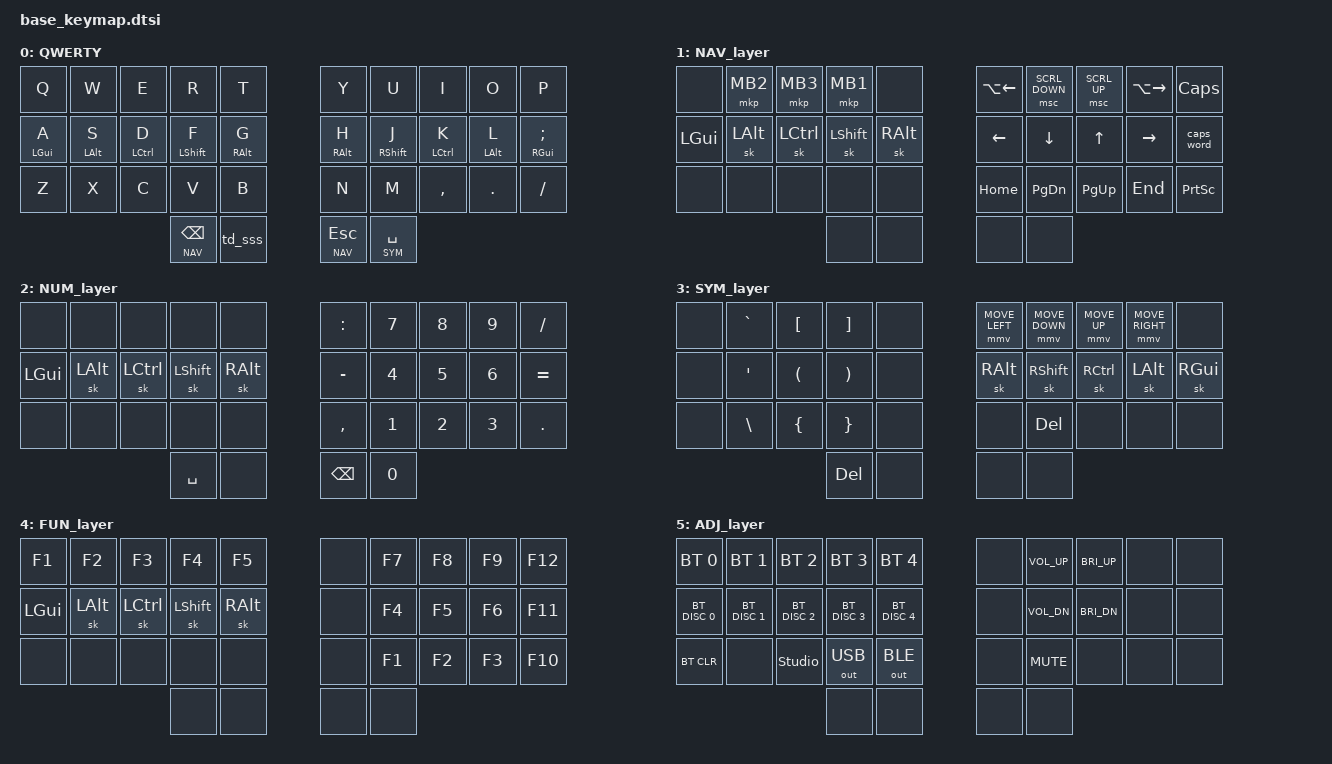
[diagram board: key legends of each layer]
#include <behaviors.dtsi>
#include <dt-bindings/zmk/bt.h>
#include <dt-bindings/zmk/keys.h>
#include <dt-bindings/zmk/mouse.h>
#include <dt-bindings/zmk/outputs.h>
#include <dt-bindings/zmk/pointing.h>

#define QWE 0
#define NAV 1
#define NUM 2
#define SYM 3
#define FUN 4
#define ADJ 5

#define COMBO(NAME, BINDINGS, KEYPOS, LAYERS, TERM, QUICKTAP, ...) \
  combo_##NAME { \
      bindings = <BINDINGS>; \
      key-positions = <KEYPOS>; \
      layers = <LAYERS>; \
      timeout-ms = <TERM>; \
      require-prior-idle-ms = <QUICKTAP>; \
      __VA_ARGS__ \
  };

#define KEYS_L \
          0  1  2  3  4 \
         10 11 12 13 14 \
         20 21 22 23 24 
#define KEYS_R \
                               5  6  7  8  9 \
                              15 16 17 18 19 \
                              25 26 27 28 29
#define THUMBS    30 31       32 33

&lt {
    tapping-term-ms = <300>;
    flavor = "balanced";
    quick-tap-ms = <150>;
    require-prior-idle-ms = <100>;
};
&sk {
    release-after-ms = <2000>;
    quick-release;
};

/ {
    combos {
        compatible = "zmk,combos";
        /*    name            binding      keypos    layers   trm  qtp */
        COMBO(we_esc,         &kp ESC,      1  2,    QWE,     20,  100)
        COMBO(er_tab,         &kp TAB,      2  3,    QWE,     15,  100)
        COMBO(sd_grave,       &kp GRAVE,   11 12,    QWE,     30,  200)

        COMBO(uo_bslh,        &kp BSLH,     6  7,    QWE NUM, 30,  200)
        COMBO(io_pipe,        &kp PIPE,     7  8,    QWE NUM, 30,  200)
        COMBO(jk_apos,        &kp APOS,    16 17,    QWE,     50,  200)
        COMBO(kl_quot,        &kp DQT,     17 18,    QWE,     50,  200)
        COMBO(comdot_enter,   &kp RET,     27 28,    QWE NUM, 40,  25)
        COMBO(mcom_dash,      &kp MINUS,   26 27,    QWE NUM, 50,  50)

        /* Thumb bits */
        COMBO(rthum_adjust,   &mo ADJ,     32 33,    QWE,     50,  200)
        COMBO(lthumb_ltfun,   &mo FUN,     30 31,    QWE,     50,  200)

        /* Numbers only */
        COMBO(kl_lpar,        &kp LPAR,    16 17,        NUM, 30,  50)
        COMBO(kl_rpar,        &kp RPAR,    17 18,        NUM, 30,  50)
        COMBO(hj_lkbt,        &kp LBKT,    15 16,        NUM, 30,  50)
        COMBO(lcol_rkbt,      &kp RBKT,    18 19,        NUM, 30,  50)
    };

    behaviors {
        lth: layer_tap_hold_preferred {
            compatible = "zmk,behavior-hold-tap";
            tapping-term-ms = <300>;
            flavor = "hold-preferred";
            quick-tap-ms = <150>;
            require-prior-idle-ms = <100>;
            #binding-cells = <2>;
            bindings = <&mo>, <&kp>;
        };
        lths: layer_tap_hold_sticky {
            compatible = "zmk,behavior-hold-tap";
            flavor = "hold-preferred";
            hold-while-undecided;
            tapping-term-ms = <50>;
            #binding-cells = <2>;
            bindings = <&mo>, <&sk>;
        };
        td_sss: tap_dance_super_shift {
            compatible = "zmk,behavior-tap-dance";
            tapping-term-ms = <300>;
            #binding-cells = <0>;
            bindings = <&lths NUM LSHFT>, <&caps_word>, <&kp CAPS>;
        };
        hml: home_row_mods_left {
            compatible = "zmk,behavior-hold-tap";
            tapping-term-ms = <400>;
            quick-tap-ms = <150>;
            flavor = "balanced";
            #binding-cells = <2>;
            bindings = <&kp>, <&kp>;
            hold-trigger-key-positions = <KEYS_R THUMBS>;
            hold-trigger-on-release;
            require-prior-idle-ms = <120>;
        };
        hmr: home_row_mods_right {
            compatible = "zmk,behavior-hold-tap";
            tapping-term-ms = <400>;
            quick-tap-ms = <150>;
            flavor = "balanced";
            #binding-cells = <2>;
            bindings = <&kp>, <&kp>;
            hold-trigger-key-positions = <KEYS_L THUMBS>;
            hold-trigger-on-release;
            require-prior-idle-ms = <120>;
        };
    };

    keymap {
        compatible = "zmk,keymap";

        QWE_layer {
            display-name = "QWERTY";
            bindings = <
//            |             |             |             |             |                     |             |             |             |             |             |             
&kp Q         &kp W         &kp E         &kp R         &kp T                                             &kp Y         &kp U         &kp I         &kp O         &kp P         
&hml LGUI A   &hml LALT S   &hml LCTRL D  &hml LSHFT F  &hml RALT G                                       &hmr RALT H   &hmr RSHFT J  &hmr LCTRL K  &hmr LALT L   &hmr RGUI SEMI
&kp Z         &kp X         &kp C         &kp V         &kp B                                             &kp N         &kp M         &kp COMMA     &kp DOT       &kp FSLH      
                                                        &lth NAV BSPC &td_sss               &lt NAV ESC   &lt SYM SPACE
            >;
        };

        NAV_layer {
            bindings = <
//            |             |             |             |             |                    |              |             |             |             |             |             
&none         &mkp MB2      &mkp MB3      &mkp MB1      &none                                             &kp LA(LEFT)  &msc SCRL_DOWN &msc SCRL_UP &kp LA(RIGHT) &kp CAPS      
&kp LGUI      &sk LALT      &sk LCTRL     &sk LSHFT     &sk RALT                                          &kp LEFT      &kp DOWN      &kp UP        &kp RIGHT     &caps_word    
&none         &none         &none         &none         &none                                             &kp HOME      &kp PG_DN     &kp PG_UP     &kp END       &kp PSCRN     
                                                        &none         &none                 &none         &none
            >;
        };

        NUM_layer {
            bindings = <
//            |             |             |             |             |                    |              |             |             |             |             |             
&none         &none         &none         &none         &none                                             &kp COLON     &kp N7        &kp N8        &kp N9        &kp FSLH
&kp LGUI      &sk LALT      &sk LCTRL     &sk LSHFT     &sk RALT                                          &kp MINUS     &kp N4        &kp N5        &kp N6        &kp EQUAL     
&none         &none         &none         &none         &none                                             &kp COMMA     &kp N1        &kp N2        &kp N3        &kp DOT       
                                                        &kp SPACE     &none                 &kp BSPC      &kp N0
            >;
        };

        SYM_layer {
            bindings = <
//            |             |             |             |             |                    |              |             |             |             |             |             
&none         &kp GRAVE     &kp LBKT      &kp RBKT      &none                                            &mmv MOVE_LEFT &mmv MOVE_DOWN &mmv MOVE_UP &mmv MOVE_RIGHT &none
&none         &kp APOS      &kp LPAR      &kp RPAR      &none                                             &sk RALT      &sk RSHFT     &sk RCTRL     &sk LALT      &sk RGUI      
&none         &kp BSLH      &kp LBRC      &kp RBRC      &none                                             &none         &kp DEL       &none         &none         &none         
                                                        &kp DEL       &none                 &none         &none
            >;
        };

        FUN_layer {
            bindings = <
//            |             |             |             |             |                    |              |             |             |             |             |             
&kp F1        &kp F2        &kp F3        &kp F4        &kp F5                                            &none         &kp F7        &kp F8        &kp F9        &kp F12       
&kp LGUI      &sk LALT      &sk LCTRL     &sk LSHFT     &sk RALT                                          &none         &kp F4        &kp F5        &kp F6        &kp F11       
&none         &none         &none         &none         &none                                             &none         &kp F1        &kp F2        &kp F3        &kp F10       
                                                        &none         &none                 &none         &none
            >;
        };

        ADJ_layer {
            bindings = <
//            |             |             |             |             |                    |              |             |             |             |             |             
&bt BT_SEL 0  &bt BT_SEL 1  &bt BT_SEL 2  &bt BT_SEL 3  &bt BT_SEL 4                                      &none         &kp C_VOL_UP  &kp C_BRI_UP  &none         &none         
&bt BT_DISC 0 &bt BT_DISC 1 &bt BT_DISC 2 &bt BT_DISC 3 &bt BT_DISC 4                                     &none         &kp C_VOL_DN  &kp C_BRI_DN  &none         &none         
&bt BT_CLR    &none        &studio_unlock &out OUT_USB  &out OUT_BLE                                      &none         &kp C_MUTE    &none         &none         &none         
                                                        &none         &none                 &none         &none
            >;
        };
    };
};
// |             |             |             |             |             |                     |             |             |             |             |             |          
// &kp LGUI      &kp LALT      &kp LCTRL     &kp LSHFT     &kp RALT                                          &kp RALT      &kp RSHFT     &kp RCTRL     &kp LALT      &kp RGUI   
// &trans        &trans        &trans        &trans        &trans                                            &trans        &trans        &trans        &trans        &trans     
// &none         &none         &none         &none         &none                                             &none         &none         &none         &none         &none      
//                                                         &none         &none                 &none         &none
/* vim: set ft=c tw=174 sw=4 ts=4 et: */
